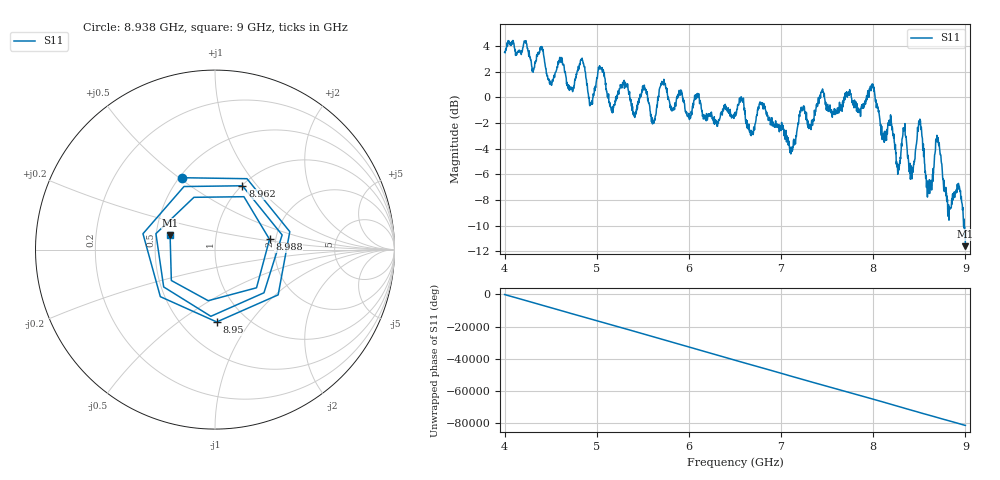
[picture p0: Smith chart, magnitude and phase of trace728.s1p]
! Created with skrf 1.8.0 (http://scikit-rf.org).
# Hz S RI R 50.0
!freq ReS11 ImS11
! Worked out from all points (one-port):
!   1601 points, 4 GHz to 9 GHz, reference 50 ohm
!   lowest |S11| = -11.6 dB at 9 GHz (marker M1), VSWR 1.71, Z = 29.7 + j5.18 ohm
!   |S11| at or under -10 dB: 8.980754 GHz to 8.981301 GHz (547.1 kHz wide, 0.00609 % of centre); 8.986903 GHz to end of sweep
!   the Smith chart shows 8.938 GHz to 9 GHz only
!   S11 on the Smith chart (normalised r, x): 8.938 GHz: 0.52, +0.51; 8.95 GHz: 0.73, -0.70; 8.962 GHz: 1.01, +0.84; 8.988 GHz: 1.85, +0.23; 9 GHz: 0.59, +0.10
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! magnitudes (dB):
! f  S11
! 4 GHz  3.5
! 4.625 GHz  3.0
! 4.722 GHz  0.8
! 4.847 GHz  2.9
! 4.934 GHz  -0.4
! 5.041 GHz  2.3
! 5.156 GHz  -1.0
! 5.25 GHz  0.7
! 5.609 GHz  -1.8
! 5.706 GHz  1.3
! 5.875 GHz  0.1
! 6.5 GHz  -1.4
! 7.125 GHz  -4.1
! 7.231 GHz  -0.9
! 7.75 GHz  0.4
! 7.991 GHz  1.1
! 8.269 GHz  -5.7
! 8.375 GHz  -4.7
! 8.428 GHz  -5.5
! 8.506 GHz  -1.7
! 8.6 GHz  -7.3
! 8.697 GHz  -3.2
! 8.822 GHz  -9.6
! 8.938 GHz  -7.1
! 8.95 GHz  -7.9
! 8.962 GHz  -8.2
! 8.988 GHz  -10.2
! 9 GHz  -11.6
